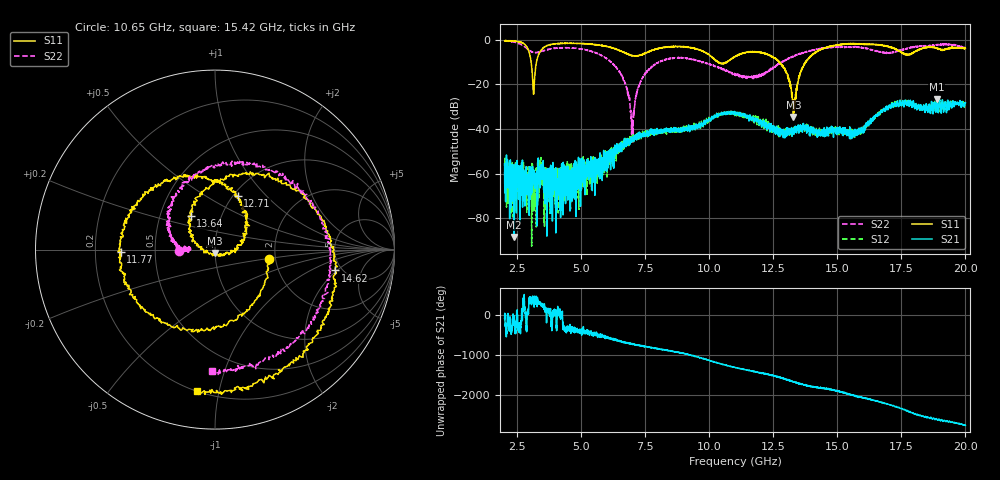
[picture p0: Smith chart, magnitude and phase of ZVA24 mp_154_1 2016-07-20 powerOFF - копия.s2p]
#	HZ	S	DB	R	50.00
! Rohde & Schwarz ZVA24 4Ports - Version 3.60 - 1145.1110k26 SN: 100556
! Date: 2016-07-20 10:17:42
! Measurements: S11 S21 S12 S22
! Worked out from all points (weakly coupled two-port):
!   3201 points, 2 GHz to 20 GHz, reference 50 ohm
!   highest |S21| = -26.68 dB at 18.88 GHz (marker M1); lowest = -88.4 dB at 2.377 GHz (marker M2)
!   lowest |S11| = -34.6 dB at 13.28 GHz (marker M3), VSWR 1.04, Z = 49.9 - j1.85 ohm
!   |S11| at or under -10 dB: 3.033 GHz to 3.244 GHz (211.2 MHz wide, 6.73 % of centre); 10.33 GHz to 10.66 GHz (329.5 MHz wide, 3.14 % of centre); 12.73 GHz to 13.75 GHz (1.023 GHz wide, 7.73 % of centre)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
!   |S22| runs from -46.5 to -0.6 dB; largest |S21 - S12| = 0.018
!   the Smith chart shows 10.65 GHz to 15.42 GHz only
!   S11 on the Smith chart (normalised r, x): 10.65 GHz: 1.85, -0.20; 11.77 GHz: 0.31, -0.01; 12.71 GHz: 1.05, +0.70; 13.64 GHz: 0.71, +0.28; 14.62 GHz: 4.38, -1.90; 15.42 GHz: 0.20, -0.86
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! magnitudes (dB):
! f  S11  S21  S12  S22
! 2 GHz  -0.5  -55.6  -61.2  -0.6
! 2.377 GHz  -0.8  -88.4  -70.3  -1.2
! 2.872 GHz  -3.3  -64.3  -60.7  -4.0
! 3.136 GHz  -23.8  -58.4  -59.5  -5.8
! 3.564 GHz  -3.2  -57.9  -58.7  -4.9
! 5.004 GHz  -1.8  -60.3  -67.1  -4.3
! 6.416 GHz  -4.6  -50.4  -47.7  -13.3
! 6.984 GHz  -7.1  -45.3  -44.9  -39.6
! 7.349 GHz  -6.7  -42.6  -43.0  -18.0
! 8.002 GHz  -4.0  -40.7  -41.5  -10.2
! 10.65 GHz  -10.3  -33.1  -32.8  -14.0
! 11 GHz  -7.7  -32.6  -33.6  -15.9
! 11.77 GHz  -5.6  -35.3  -36.1  -17.1
! 12.71 GHz  -9.8  -39.8  -39.8  -10.9
! 13.28 GHz  -34.6  -40.4  -40.2  -7.4
! 13.64 GHz  -12.7  -38.8  -40.4  -5.8
! 14 GHz  -6.9  -41.3  -39.1  -5.0
! 14.62 GHz  -3.4  -40.3  -40.3  -3.7
! 15.42 GHz  -2.0  -41.2  -41.7  -3.4
! 17 GHz  -3.2  -29.6  -30.2  -5.8
! 18.88 GHz  -4.0  -26.7  -30.6  -2.4
! 20 GHz  -4.0  -28.3  -28.1  -3.8
